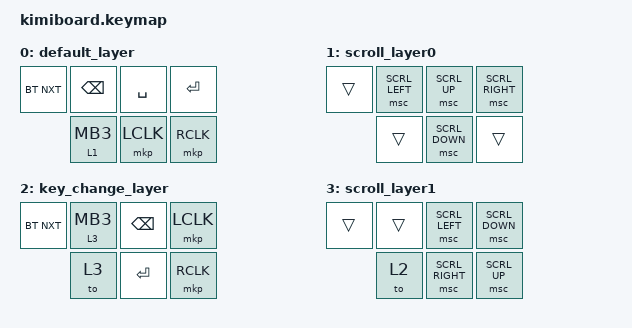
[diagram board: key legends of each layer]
#include <behaviors.dtsi>
#include <dt-bindings/zmk/bt.h>
#include <dt-bindings/zmk/keys.h>
#include <dt-bindings/zmk/mouse.h>
#include <dt-bindings/zmk/pointing.h>
#include <behaviors/rgbled_widget.dtsi>
#include <input/processors.dtsi>
#include <dt-bindings/zmk/input_transform.h>

&trackball {
    scroll-layers = <1>;
    // automouse-layer = <3>;
};

// ルートノードは1つだけ
/ {
    // まず behaviors を定義
    behaviors {
        lt_m3: layer_tap_middle_click {
            compatible = "zmk,behavior-hold-tap";
            #binding-cells = <2>;
            flavor = "tap-preferred";
            tapping-term-ms = <200>;
            // 第1セルは &mo（レイヤー）、第2セルは &mkp（MB3）
            bindings = <&mo>, <&mkp>;
        };
    };

    keymap {
        compatible = "zmk,keymap";

        default_layer {
            bindings = <
                // row0 左から右へ（一番左のキーはリセットボタン）
                &bt BT_NXT   &kp BACKSPACE  &kp SPACE     &kp ENTER
                             &lt_m3 1 MB3   &mkp LCLK     &mkp RCLK
            >;
        };

        scroll_layer0 {
            bindings = <
                &trans  &msc SCRL_LEFT   &msc SCRL_UP    &msc SCRL_RIGHT
                        &trans           &msc SCRL_DOWN  &trans
            >;
        };

        key_change_layer {
            bindings = <
                &bt BT_NXT   &lt_m3 3 MB3  &kp BACKSPACE  &mkp LCLK 
                             &to 3         &kp ENTER      &mkp RCLK
            >;
        };

        scroll_layer1 {
            bindings = <
                &trans  &trans  &msc SCRL_LEFT   &msc SCRL_DOWN
                        &to 2   &msc SCRL_RIGHT  &msc SCRL_UP
            >;
        };

        // auto_mouse_layer {
        //     bindings = <
        //         &trans  &mkp MB3  &mkp LCLK  &mkp RCLK
        //     >;
        // };
    };

    combos {
        compatible = "zmk,combos";

        combo_layer1 {
            bindings = <&mo 1>;
            key-positions = <4 5>;
            timeout-ms = <50>;
        };

        combo_layer2 {
            bindings = <&kp LANGUAGE_2>;
            key-positions = <1 4>;
            timeout-ms = <50>;
        };

        combo_layer3 {
            bindings = <&kp LANGUAGE_1>;
            key-positions = <3 6>;
            timeout-ms = <50>;
        };

        combo_layer4 {
            bindings = <&to 2>;
            key-positions = <1 3>;
            timeout-ms = <50>;
        };

        combo_layer5 {
            bindings = <&bt BT_NXT>;
            key-positions = <1 2 4 5>;
            timeout-ms = <50>;
        };

        combo_layer6 {
            bindings = <&bt BT_CLR>;
            key-positions = <2 3 5 6>;
            timeout-ms = <50>;
        };

        combo_layer7 {
            bindings = <&to 0>;
            key-positions = <4 6>;
            timeout-ms = <50>;
        };

    };

    // ★ trackball_listener ノードをここで定義（ラベルも付ける）
    trackball_listener: trackball_listener {
        status = "okay";
        compatible = "zmk,input-listener";
        device = <&trackball>;

        // ポインタ用の軸変換（例：レイヤー2）
        rotated_pointer {
            layers = <2>;
            input-processors = <
                &zip_xy_transform (INPUT_TRANSFORM_XY_SWAP | INPUT_TRANSFORM_Y_INVERT)
            >;
        };
        
        // Layer3：同じ軸 + スクロール
        rotated_scroll {
            layers = <3>;
            input-processors = <
                &zip_xy_transform (INPUT_TRANSFORM_XY_SWAP | INPUT_TRANSFORM_Y_INVERT)
                &zip_xy_to_scroll_mapper
            >;
        };
    };
};
